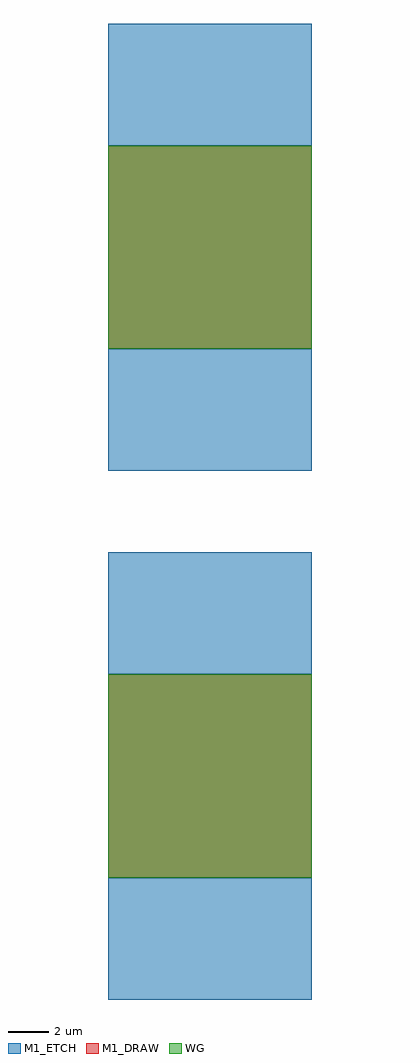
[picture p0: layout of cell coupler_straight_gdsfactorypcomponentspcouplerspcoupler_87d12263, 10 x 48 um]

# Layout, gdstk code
import gdstk
lib = gdstk.Library(unit=1e-6, precision=1e-09)
def R(c, l, rs):  # rectangles x0, y0, x1, y1
    for r in rs: c.add(gdstk.rectangle(r[:2], r[2:], *l))
M1_DRAW = (1, 0)
M1_ETCH = (1, 1)
WG = (102, 0)

straight_gdsfactorypcomp = lib.new_cell('straight_gdsfactorypcomponentspwaveguidespstraight_L10__af4e0a6e')
R(straight_gdsfactorypcomp, M1_DRAW, [(0,-5,10,5)])
R(straight_gdsfactorypcomp, M1_ETCH, [(0,-11,10,-5), (0,5,10,11)])
R(straight_gdsfactorypcomp, WG, [(0,-5,10,5)])

coupler_straight_gdsfact = lib.new_cell('coupler_straight_gdsfactorypcomponentspcouplerspcoupler_87d12263')
coupler_straight_gdsfact.add(gdstk.Reference(straight_gdsfactorypcomp, (0,26)))
coupler_straight_gdsfact.add(gdstk.Reference(straight_gdsfactorypcomp, (0,0)))

lib.write_gds('coupler_straight_gdsfactorypcomponentspcouplerspcoupler_87d12263.gds')
